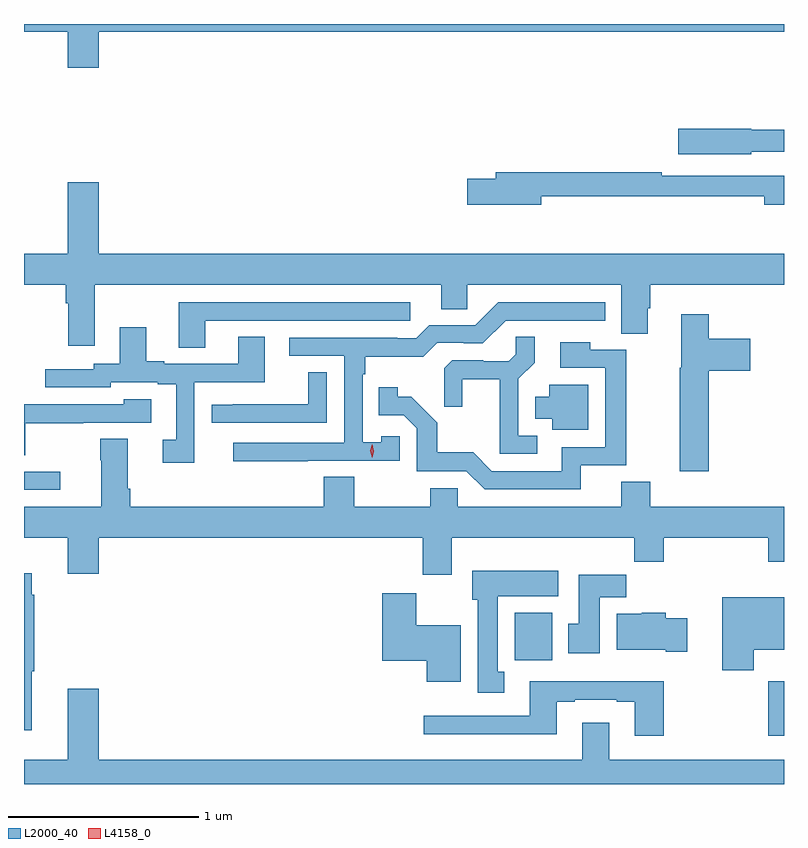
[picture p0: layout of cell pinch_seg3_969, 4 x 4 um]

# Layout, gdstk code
import gdstk
lib = gdstk.Library(unit=1e-6, precision=1e-09)
def R(c, l, rs):  # rectangles x0, y0, x1, y1
    for r in rs: c.add(gdstk.rectangle(r[:2], r[2:], *l))
def P(c, l, *ps):  # polygons
    for p in ps: c.add(gdstk.Polygon(p, *l))
L2000_40 = (2000, 40)
L4158_0 = (4158, 0)

pinch_seg3_969 = lib.new_cell('pinch_seg3_969')
R(pinch_seg3_969, L2000_40, [(456.407,714.528,456.49,714.814), (455.073,714.924,455.269,715.174), (452.49,715.821,452.68,715.917)])
P(pinch_seg3_969, L2000_40, [(452.884,718.232),(456.49,718.232),(456.49,718.273),(452.49,718.273),(452.49,718.232),(452.72,718.232),(452.72,718.044),(452.884,718.044)],
  [(456.318,717.6),(456.49,717.6),(456.49,717.716),(456.318,717.716),(456.318,717.722),(455.934,717.722),(455.934,717.587),(456.318,717.587)],
  [(455.212,717.366),(456.386,717.366),(456.386,717.323),(456.49,717.323),(456.49,717.474),(455.846,717.474),(455.846,717.494),(454.973,717.494),(454.973,717.458),(454.824,717.458),(454.824,717.323),(455.212,717.323)],
  [(452.863,716.9),(454.685,716.9),(454.685,716.773),(454.824,716.773),(454.824,716.9),(455.633,716.9),(455.633,716.644),(455.773,716.644),(455.773,716.778),(455.786,716.778),(455.786,716.9),(456.49,716.9),(456.49,717.064),(452.884,717.064),(452.884,717.439),(452.72,717.439),(452.72,717.064),(452.49,717.064),(452.49,716.9),(452.711,716.9),(452.711,716.804),(452.723,716.804),(452.723,716.58),(452.863,716.58)],
  [(453.445,716.712),(454.522,716.712),(454.522,716.808),(453.305,716.808),(453.305,716.569),(453.445,716.569)],
  [(453.983,715.974),(454.467,715.974),(454.467,716.103),(454.371,716.103),(454.371,716.071),(454.272,716.071),(454.272,716.429),(454.285,716.429),(454.285,716.522),(454.592,716.522),(454.665,716.595),(454.804,716.595),(454.804,716.592),(454.905,716.592),(455.025,716.712),(455.548,716.712),(455.548,716.808),(454.986,716.808),(454.866,716.688),(454.623,716.688),(454.554,716.619),(454.454,716.619),(454.454,716.622),(453.885,716.622),(453.885,716.526),(454.176,716.526),(454.176,716.07),(453.591,716.07),(453.591,715.972),(453.983,715.972)],
  [(456.095,716.447),(456.313,716.447),(456.313,716.617),(456.095,716.617),(456.095,716.746),(455.948,716.746),(455.948,716.463),(455.941,716.463),(455.941,715.92),(456.095,715.92)],
  [(453.387,716.388),(453.757,716.388),(453.757,716.627),(453.617,716.627),(453.617,716.484),(453.229,716.484),(453.229,716.497),(453.133,716.497),(453.133,716.677),(452.993,716.677),(452.993,716.484),(452.856,716.484),(452.856,716.457),(452.601,716.457),(452.601,716.361),(452.946,716.361),(452.946,716.388),(453.194,716.388),(453.194,716.376),(453.29,716.376),(453.29,716.085),(453.219,716.085),(453.219,715.965),(453.387,715.965)],
  [(455.191,716.106),(455.091,716.106),(455.091,716.405),(455.177,716.491),(455.177,716.627),(455.079,716.627),(455.079,716.536),(455.042,716.499),(454.908,716.499),(454.908,716.502),(454.743,716.502),(454.702,716.461),(454.702,716.259),(454.796,716.259),(454.796,716.402),(454.994,716.402),(454.994,716.01),(455.191,716.01)],
  [(455.42,715.95),(455.659,715.95),(455.659,716.559),(455.469,716.559),(455.469,716.599),(455.313,716.599),(455.313,716.463),(455.55,716.463),(455.55,716.046),(455.321,716.046),(455.321,715.92),(454.953,715.92),(454.855,716.019),(454.666,716.019),(454.666,716.174),(454.528,716.312),(454.458,716.312),(454.458,716.362),(454.357,716.362),(454.357,716.214),(454.488,716.214),(454.557,716.145),(454.557,715.92),(454.818,715.92),(454.914,715.824),(455.42,715.824)],
  [(454.083,716.441),(453.985,716.441),(453.985,716.271),(453.589,716.271),(453.589,716.27),(453.477,716.27),(453.477,716.175),(454.083,716.175)],
  [(455.461,716.374),(455.255,716.374),(455.255,716.311),(455.18,716.311),(455.18,716.195),(455.27,716.195),(455.27,716.138),(455.461,716.138)],
  [(452.497,716.173),(452.801,716.173),(452.801,716.175),(453.16,716.175),(453.16,716.299),(453.015,716.299),(453.015,716.271),(452.49,716.271),(452.49,716.002),(452.497,716.002)],
  [(454.741,715.568),(455.701,715.568),(455.701,715.444),(455.858,715.444),(455.858,715.568),(456.407,715.568),(456.407,715.444),(456.49,715.444),(456.49,715.732),(455.786,715.732),(455.786,715.865),(455.633,715.865),(455.633,715.732),(454.773,715.732),(454.773,715.83),(454.627,715.83),(454.627,715.732),(454.227,715.732),(454.227,715.889),(454.067,715.889),(454.067,715.732),(453.05,715.732),(453.05,715.828),(453.037,715.828),(453.037,716.089),(452.89,716.089),(452.89,715.976),(452.897,715.976),(452.897,715.732),(452.49,715.732),(452.49,715.568),(452.72,715.568),(452.72,715.38),(452.884,715.38),(452.884,715.568),(454.589,715.568),(454.589,715.374),(454.741,715.374)],
  [(455.017,714.865),(454.984,714.865),(454.984,715.262),(455.302,715.262),(455.302,715.396),(454.85,715.396),(454.85,715.242),(454.877,715.242),(454.877,714.753),(455.017,714.753)],
  [(452.53,714.867),(452.543,714.867),(452.543,715.268),(452.53,715.268),(452.53,715.381),(452.49,715.381),(452.49,714.555),(452.53,714.555)],
  [(455.521,715.256),(455.66,715.256),(455.66,715.375),(455.411,715.375),(455.411,715.116),(455.354,715.116),(455.354,714.96),(455.521,714.96)],
  [(454.789,715.108),(454.554,715.108),(454.554,715.276),(454.376,715.276),(454.376,714.923),(454.61,714.923),(454.61,714.812),(454.789,714.812)],
  [(456.33,714.98),(456.49,714.98),(456.49,715.255),(456.164,715.255),(456.164,714.873),(456.33,714.873)],
  [(455.98,715.146),(455.868,715.146),(455.868,715.174),(455.742,715.174),(455.742,715.168),(455.609,715.168),(455.609,714.98),(455.867,714.98),(455.867,714.968),(455.98,714.968)],
  [(455.858,714.814),(455.153,714.814),(455.153,714.633),(454.593,714.633),(454.593,714.536),(455.293,714.536),(455.293,714.705),(455.389,714.705),(455.389,714.717),(455.609,714.717),(455.609,714.705),(455.705,714.705),(455.705,714.528),(455.858,714.528)],
  [(456.49,714.4),(455.569,714.4),(455.569,714.595),(455.429,714.595),(455.429,714.4),(452.884,714.4),(452.884,714.775),(452.72,714.775),(452.72,714.4),(452.49,714.4),(452.49,714.273),(456.49,714.273)])
P(pinch_seg3_969, L4158_0, [(454.322,715.989),(454.322,715.989),(454.313,716.026),(454.323,716.061),(454.323,716.062),(454.323,716.061),(454.332,716.025),(454.322,715.989)])

lib.write_gds('pinch_seg3_969.gds')
